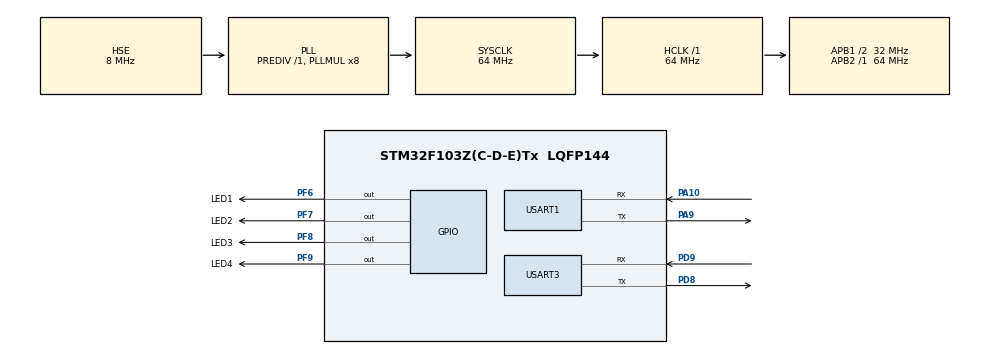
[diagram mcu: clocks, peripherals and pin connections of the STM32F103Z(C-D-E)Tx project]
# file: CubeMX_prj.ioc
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Dma.Request0=USART1_RX
Dma.Request1=USART1_TX
Dma.Request2=USART3_RX
Dma.Request3=USART3_TX
Dma.USART1_RX.0.Direction=DMA_PERIPH_TO_MEMORY
Dma.USART1_RX.0.Instance=DMA1_Channel5
Dma.USART1_RX.0.MemDataAlignment=DMA_MDATAALIGN_BYTE
Dma.USART1_RX.0.MemInc=DMA_MINC_ENABLE
Dma.USART1_RX.0.Mode=DMA_NORMAL
Dma.USART1_RX.0.PeriphDataAlignment=DMA_PDATAALIGN_BYTE
Dma.USART1_RX.0.PeriphInc=DMA_PINC_DISABLE
Dma.USART1_RX.0.Priority=DMA_PRIORITY_LOW
Dma.USART1_TX.1.Direction=DMA_MEMORY_TO_PERIPH
Dma.USART1_TX.1.Instance=DMA1_Channel4
Dma.USART1_TX.1.MemDataAlignment=DMA_MDATAALIGN_BYTE
Dma.USART1_TX.1.MemInc=DMA_MINC_ENABLE
Dma.USART1_TX.1.Mode=DMA_NORMAL
Dma.USART1_TX.1.PeriphDataAlignment=DMA_PDATAALIGN_BYTE
Dma.USART1_TX.1.PeriphInc=DMA_PINC_DISABLE
Dma.USART1_TX.1.Priority=DMA_PRIORITY_LOW
Dma.USART3_RX.2.Direction=DMA_PERIPH_TO_MEMORY
Dma.USART3_RX.2.Instance=DMA1_Channel3
Dma.USART3_RX.2.MemDataAlignment=DMA_MDATAALIGN_BYTE
Dma.USART3_RX.2.MemInc=DMA_MINC_ENABLE
Dma.USART3_RX.2.Mode=DMA_NORMAL
Dma.USART3_RX.2.PeriphDataAlignment=DMA_PDATAALIGN_BYTE
Dma.USART3_RX.2.PeriphInc=DMA_PINC_DISABLE
Dma.USART3_RX.2.Priority=DMA_PRIORITY_LOW
Dma.USART3_TX.3.Direction=DMA_MEMORY_TO_PERIPH
Dma.USART3_TX.3.Instance=DMA1_Channel2
Dma.USART3_TX.3.MemDataAlignment=DMA_MDATAALIGN_BYTE
Dma.USART3_TX.3.MemInc=DMA_MINC_ENABLE
Dma.USART3_TX.3.Mode=DMA_NORMAL
Dma.USART3_TX.3.PeriphDataAlignment=DMA_PDATAALIGN_BYTE
Dma.USART3_TX.3.PeriphInc=DMA_PINC_DISABLE
Dma.USART3_TX.3.Priority=DMA_PRIORITY_LOW
FREERTOS.Tasks01=Task_Led,0,128,StartDefaultTask,Default,NULL,Dynamic,NULL,NULL
FREERTOS.configUSE_COUNTING_SEMAPHORES=1
Mcu.Family=STM32F1
Mcu.Name=STM32F103Z(C-D-E)Tx
Mcu.Package=LQFP144
NVIC.DMA1_Channel2_IRQn=true\:0\:0\:false\:false\:true\:true\:false\:true
NVIC.DMA1_Channel3_IRQn=true\:0\:0\:false\:false\:true\:true\:false\:true
NVIC.DMA1_Channel4_IRQn=true\:5\:0\:false\:false\:true\:true\:false\:true
NVIC.DMA1_Channel5_IRQn=true\:5\:0\:false\:false\:true\:true\:false\:true
NVIC.PriorityGroup=NVIC_PRIORITYGROUP_4
NVIC.TIM2_IRQn=true\:0\:0\:false\:false\:true\:false\:false\:true
NVIC.TIM3_IRQn=true\:5\:0\:false\:false\:true\:true\:true\:true
NVIC.TimeBase=TIM2_IRQn
NVIC.TimeBaseIP=TIM2
NVIC.USART1_IRQn=true\:5\:0\:false\:false\:true\:true\:true\:true
NVIC.USART3_IRQn=true\:0\:0\:false\:false\:true\:true\:true\:true
OSC_IN.Mode=HSE-External-Oscillator
OSC_IN.Signal=RCC_OSC_IN
OSC_OUT.Mode=HSE-External-Oscillator
OSC_OUT.Signal=RCC_OSC_OUT
PA10.Mode=Asynchronous
PA10.Signal=USART1_RX
PA13.Mode=Trace_Asynchronous_SW
PA13.Signal=SYS_JTMS-SWDIO
PA14.Mode=Trace_Asynchronous_SW
PA14.Signal=SYS_JTCK-SWCLK
PA9.Mode=Asynchronous
PA9.Signal=USART1_TX
PB3.Mode=Trace_Asynchronous_SW
PB3.Signal=SYS_JTDO-TRACESWO
PD8.Mode=Asynchronous
PD8.Signal=USART3_TX
PD9.Mode=Asynchronous
PD9.Signal=USART3_RX
PF6.GPIO_Label=LED1
PF6.Signal=GPIO_Output
PF7.GPIO_Label=LED2
PF7.Signal=GPIO_Output
PF8.GPIO_Label=LED3
PF8.Signal=GPIO_Output
PF9.GPIO_Label=LED4
PF9.Signal=GPIO_Output
ProjectManager.HeapSize=0x200
ProjectManager.StackSize=0x400
ProjectManager.TargetToolchain=MDK-ARM V5.27
RCC.AHBFreq_Value=64000000
RCC.APB1CLKDivider=RCC_HCLK_DIV2
RCC.APB1Freq_Value=32000000
RCC.APB1TimFreq_Value=64000000
RCC.APB2Freq_Value=64000000
RCC.APB2TimFreq_Value=64000000
RCC.HCLKFreq_Value=64000000
RCC.PLLMUL=RCC_PLL_MUL8
RCC.PLLSourceVirtual=RCC_PLLSOURCE_HSE
RCC.SYSCLKFreq_VALUE=64000000
RCC.SYSCLKSource=RCC_SYSCLKSOURCE_PLLCLK
RCC.USBFreq_Value=64000000
TIM3.Period=10000-1
TIM3.Prescaler=72-1
USART1.VirtualMode=VM_ASYNC
USART3.VirtualMode=VM_ASYNC
VP_FREERTOS_VS_CMSIS_V1.Mode=CMSIS_V1
VP_SYS_VS_tim2.Mode=TIM2
VP_TIM3_VS_ClockSourceINT.Mode=Internal
board=custom

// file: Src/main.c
/* USER CODE BEGIN Header */
/**
  ******************************************************************************
  * @file           : main.c
  * @brief          : Main program body
  ******************************************************************************
  * @attention
  *
  * <h2><center>&copy; Copyright (c) 2020 STMicroelectronics.
  * All rights reserved.</center></h2>
  *
  * This software component is licensed by ST under BSD 3-Clause license,
  * the "License"; You may not use this file except in compliance with the
  * License. You may obtain a copy of the License at:
  *                        opensource.org/licenses/BSD-3-Clause
  *
  ******************************************************************************
  */
/* USER CODE END Header */

#include "main.h"
#include "cmsis_os.h"
#include "dma.h"
#include "tim.h"
#include "usart.h"
#include "gpio.h"

void SystemClock_Config(void);
void MX_FREERTOS_Init(void);

int main(void)
{

  /* MCU Configuration--------------------------------------------------------*/

  /* Reset of all peripherals, Initializes the Flash interface and the Systick. */
  HAL_Init();

  /* Configure the system clock */
  SystemClock_Config();

  /* Initialize all configured peripherals */
  MX_GPIO_Init();
  MX_DMA_Init();
  MX_USART1_UART_Init();
  MX_TIM3_Init();
  MX_USART3_UART_Init();

  /* Call init function for freertos objects (in freertos.c) */
  MX_FREERTOS_Init();
  /* Start scheduler */
  osKernelStart();

  /* We should never get here as control is now taken by the scheduler */
  /* Infinite loop */
  while (1)
  {

  }
}

void SystemClock_Config(void)
{
  RCC_OscInitTypeDef RCC_OscInitStruct = {0};
  RCC_ClkInitTypeDef RCC_ClkInitStruct = {0};

  /** Initializes the CPU, AHB and APB busses clocks
  */
  RCC_OscInitStruct.OscillatorType = RCC_OSCILLATORTYPE_HSE;
  RCC_OscInitStruct.HSEState = RCC_HSE_ON;
  RCC_OscInitStruct.HSEPredivValue = RCC_HSE_PREDIV_DIV1;
  RCC_OscInitStruct.HSIState = RCC_HSI_ON;
  RCC_OscInitStruct.PLL.PLLState = RCC_PLL_ON;
  RCC_OscInitStruct.PLL.PLLSource = RCC_PLLSOURCE_HSE;
  RCC_OscInitStruct.PLL.PLLMUL = RCC_PLL_MUL8;
  if (HAL_RCC_OscConfig(&RCC_OscInitStruct) != HAL_OK)
  {
    Error_Handler();
  }
  /** Initializes the CPU, AHB and APB busses clocks
  */
  RCC_ClkInitStruct.ClockType = RCC_CLOCKTYPE_HCLK|RCC_CLOCKTYPE_SYSCLK
                              |RCC_CLOCKTYPE_PCLK1|RCC_CLOCKTYPE_PCLK2;
  RCC_ClkInitStruct.SYSCLKSource = RCC_SYSCLKSOURCE_PLLCLK;
  RCC_ClkInitStruct.AHBCLKDivider = RCC_SYSCLK_DIV1;
  RCC_ClkInitStruct.APB1CLKDivider = RCC_HCLK_DIV2;
  RCC_ClkInitStruct.APB2CLKDivider = RCC_HCLK_DIV1;

  if (HAL_RCC_ClockConfig(&RCC_ClkInitStruct, FLASH_LATENCY_2) != HAL_OK)
  {
    Error_Handler();
  }
}

 /**
  * @brief  Period elapsed callback in non blocking mode
  * @note   This function is called  when TIM2 interrupt took place, inside
  * HAL_TIM_IRQHandler(). It makes a direct call to HAL_IncTick() to increment
  * a global variable "uwTick" used as application time base.
  * @param  htim : TIM handle
  * @retval None
  */
void HAL_TIM_PeriodElapsedCallback(TIM_HandleTypeDef *htim)
{
  if (htim->Instance == TIM2) {
    HAL_IncTick();
  }
}

void Error_Handler(void)
{
}

/************************ (C) COPYRIGHT STMicroelectronics *****END OF FILE****/

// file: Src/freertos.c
/* USER CODE BEGIN Header */
/**
  ******************************************************************************
  * File Name          : freertos.c
  * Description        : Code for freertos applications
  ******************************************************************************
  * @attention
  *
  * <h2><center>&copy; Copyright (c) 2020 STMicroelectronics.
  * All rights reserved.</center></h2>
  *
  * This software component is licensed by ST under Ultimate Liberty license
  * SLA0044, the "License"; You may not use this file except in compliance with
  * the License. You may obtain a copy of the License at:
  *                             www.st.com/SLA0044
  *
  ******************************************************************************
  */
/* USER CODE END Header */

#include "FreeRTOS.h"
#include "task.h"
#include "main.h"
#include "cmsis_os.h"

/* USER CODE BEGIN Includes */
#include "usart.h"
#include "dev_sign_api.h"
#include "mqtt_api.h"
#include "at_api.h"
/* USER CODE END Includes */

/* USER CODE BEGIN PD */
int HAL_GetProductKey(char product_key[IOTX_PRODUCT_KEY_LEN]);
int HAL_GetDeviceName(char device_name[IOTX_DEVICE_NAME_LEN]);
int HAL_GetDeviceSecret(char device_secret[IOTX_DEVICE_SECRET_LEN]);
uint64_t HAL_UptimeMs(void);
int HAL_Snprintf(char *str, const int len, const char *fmt, ...);
/* USER CODE END PD */

/* USER CODE BEGIN PM */
static char g_topic_name[CONFIG_MQTT_TOPIC_MAXLEN];
/* USER CODE END PM */

osThreadId Task_LedHandle;

void StartDefaultTask(void const * argument);

void MX_FREERTOS_Init(void); /* (MISRA C 2004 rule 8.1) */

/* GetIdleTaskMemory prototype (linked to static allocation support) */
void vApplicationGetIdleTaskMemory( StaticTask_t **ppxIdleTaskTCBBuffer, StackType_t **ppxIdleTaskStackBuffer, uint32_t *pulIdleTaskStackSize );

/* USER CODE BEGIN GET_IDLE_TASK_MEMORY */
static StaticTask_t xIdleTaskTCBBuffer;
static StackType_t xIdleStack[configMINIMAL_STACK_SIZE];

void vApplicationGetIdleTaskMemory( StaticTask_t **ppxIdleTaskTCBBuffer, StackType_t **ppxIdleTaskStackBuffer, uint32_t *pulIdleTaskStackSize )
{
  *ppxIdleTaskTCBBuffer = &xIdleTaskTCBBuffer;
  *ppxIdleTaskStackBuffer = &xIdleStack[0];
  *pulIdleTaskStackSize = configMINIMAL_STACK_SIZE;
  /* place for user code */
}
/* USER CODE END GET_IDLE_TASK_MEMORY */

void MX_FREERTOS_Init(void) {

  /* Create the thread(s) */
  /* definition and creation of Task_Led */
  osThreadDef(Task_Led, StartDefaultTask, osPriorityNormal, 0, 128);
  Task_LedHandle = osThreadCreate(osThread(Task_Led), NULL);

}

/* USER CODE BEGIN Header_StartDefaultTask */
/**
  * @brief  Function implementing the Task_Led thread.
  * @param  argument: Not used
  * @retval None
  */
void message_arrive(void *pcontext, void *pclient, iotx_mqtt_event_msg_pt msg)
{
    iotx_mqtt_topic_info_t     *topic_info = (iotx_mqtt_topic_info_pt) msg->msg;

    switch (msg->event_type) {
        case IOTX_MQTT_EVENT_PUBLISH_RECEIVED:
            /* print topic name and topic message */
            //HAL_Printf("Message Arrived: \n");
            //HAL_Printf("Topic  : %.*s\n", topic_info->topic_len, topic_info->ptopic);
            //HAL_Printf("Payload: %.*s\n", topic_info->payload_len, topic_info->payload);
            //HAL_Printf("\n");
            break;
        default:
            break;
    }
}

int subscribe(void *handle)
{
    int res = 0;
    char product_key[IOTX_PRODUCT_KEY_LEN] = {0};
    char device_name[IOTX_DEVICE_NAME_LEN] = {0};
    const char *fmt = "/%s/%s/user/get";
    char *topic = NULL;
    int topic_len = 0;

    HAL_GetProductKey(product_key);
    HAL_GetDeviceName(device_name);

    topic_len = strlen(fmt) + strlen(product_key) + strlen(device_name) + 1;
    if (topic_len > CONFIG_MQTT_TOPIC_MAXLEN) {
        //HAL_Printf("topic too long\n");
        return -1;
    }
    topic = g_topic_name;
    memset(topic, 0, CONFIG_MQTT_TOPIC_MAXLEN);
    HAL_Snprintf(topic, topic_len, fmt, product_key, device_name);

    res = IOT_MQTT_Subscribe(handle, topic, IOTX_MQTT_QOS0, message_arrive, NULL);
    if (res < 0) {
        //HAL_Printf("subscribe failed\n");
        return -1;
    }

    return 0;
}

int publish(void *handle)
{
    int res = 0;
    iotx_mqtt_topic_info_t topic_msg;
    char product_key[IOTX_PRODUCT_KEY_LEN] = {0};
    char device_name[IOTX_DEVICE_NAME_LEN] = {0};
    const char *fmt = "/%s/%s/user/get";
    char *topic = NULL;
    int topic_len = 0;
    char *payload = "hello,world";

    HAL_GetProductKey(product_key);
    HAL_GetDeviceName(device_name);

    topic_len = strlen(fmt) + strlen(product_key) + strlen(device_name) + 1;
    if (topic_len > CONFIG_MQTT_TOPIC_MAXLEN) {
        //HAL_Printf("topic too long\n");
        return -1;
    }
    topic = g_topic_name;
    memset(topic, 0, CONFIG_MQTT_TOPIC_MAXLEN);
    HAL_Snprintf(topic, topic_len, fmt, product_key, device_name);

    memset(&topic_msg, 0x0, sizeof(iotx_mqtt_topic_info_t));
    topic_msg.qos = IOTX_MQTT_QOS0;
    topic_msg.retain = 0;
    topic_msg.dup = 0;
    topic_msg.payload = (void *)payload;
    topic_msg.payload_len = strlen(payload);

    res = IOT_MQTT_Publish(handle, topic, &topic_msg);
    if (res < 0) {
        //HAL_Printf("publish failed\n");
        return -1;
    }

    return 0;
}

void event_handle(void *pcontext, void *pclient, iotx_mqtt_event_msg_pt msg)
{
    //HAL_Printf("msg->event_type : %d\n", msg->event_type);
}
/* USER CODE END Header_StartDefaultTask */
void StartDefaultTask(void const * argument)
{
  /* USER CODE BEGIN StartDefaultTask */
  /* Infinite loop */
	void *pclient = NULL;
	int res = 0;
	int loop_cnt = 0;

	iotx_mqtt_region_types_t region = IOTX_CLOUD_REGION_SHANGHAI;
	iotx_sign_mqtt_t sign_mqtt;
	iotx_dev_meta_info_t meta;
	iotx_mqtt_param_t mqtt_params;

	if(IOT_ATM_Init() < 0){
		return ;
	}

	memset(&meta, 0, sizeof(iotx_dev_meta_info_t));
	HAL_GetProductKey(meta.product_key);
	HAL_GetDeviceName(meta.device_name);
	HAL_GetDeviceSecret(meta.device_secret);

	memset(&sign_mqtt, 0x0, sizeof(iotx_sign_mqtt_t));
	if(IOT_Sign_MQTT(region, &meta, &sign_mqtt) < 0){
		return;
	}

	memset(&mqtt_params, 0x0, sizeof(mqtt_params));
	mqtt_params.port = sign_mqtt.port;
	mqtt_params.host = sign_mqtt.hostname;
	mqtt_params.client_id = sign_mqtt.clientid;
	mqtt_params.username = sign_mqtt.username;
	mqtt_params.password = sign_mqtt.password;

	mqtt_params.request_timeout_ms = 2000;
	mqtt_params.clean_session = 0;
	mqtt_params.keepalive_interval_ms = 60000;
	mqtt_params.read_buf_size = 1024;
	mqtt_params.write_buf_size = 1024;

	mqtt_params.handle_event.h_fp = event_handle;
	mqtt_params.handle_event.pcontext = NULL;

	pclient = IOT_MQTT_Construct(&mqtt_params);
	if(pclient == NULL)
		return;
	res = subscribe(pclient);
	if(res < 0){
		IOT_MQTT_Destroy(&pclient);
		return;
	}
  for(;;)
  {
		if((loop_cnt % 20) == 0){
			publish(pclient);
		}
		IOT_MQTT_Yield(pclient, 200);
		loop_cnt += 1;

    osDelay(10);
  }
  /* USER CODE END StartDefaultTask */
}

/************************ (C) COPYRIGHT STMicroelectronics *****END OF FILE****/
